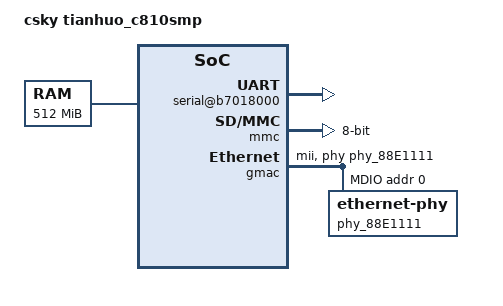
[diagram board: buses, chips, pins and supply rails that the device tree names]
/dts-v1/;
/ {
    model = "csky tianhuo_c810smp";
    compatible = "csky,tianhuo_c810smp";
    #address-cells = <1>;
    #size-cells = <1>;

    memory {
        device_type = "memory";
        reg = <0x80000000 0x20000000>;
    };

    cpus {
        #address-cells = <1>;
        #size-cells = <0>;
        timebase-frequency = <50000000>;
        cpu@0 {
            device_type = "cpu";
            reg = <0>;
            status = "okay";
            compatible = "csky";
            csky,isa = "Unknown";
        };
    };

    soc {
        #address-cells = <1>;
        #size-cells = <1>;
        compatible = "simple-bus";
        ranges;

        intc: interrupt-controller {
            compatible = "snps,dw-apb-ictl-dh";
            reg = <0xbfc10000 0x10000>;
            interrupt-controller;
            #interrupt-cells = <1>;
        };

        dummy_apb: apb-clock {
            compatible = "fixed-clock";
            clock-frequency = <50000000>;
            clock-output-names = "dummy_apb";
            #clock-cells = <0>;
        };

        serial@b7018000 {
            compatible = "snps,dw-apb-uart";
            reg = <0xb7018000 0x400>;
            interrupt-parent = <&intc>;
            interrupts = <25>;
            clocks = <&dummy_apb>;
            clock-frequency = <50000000>;
            clock-names = "baudclk";
            reg-shift = <2>;
            reg-io-width = <4>;
        };

        mmc: mmc0@b7080000 {
            compatible = "snps,dw-mshc";
            reg = <0xb7080000 0x400>;
            bus-width = <8>;
            clocks = <&dummy_apb>, <&dummy_apb>;
            clock-names = "biu", "ciu";
            max-frequency = <25000000>;
        };

        gmac: ethernet@b7070000 {
            compatible = "snps,arc-dwmac-3.70a";
            reg = <0xb7070000 0x2000>;
            interrupt-parent = <&intc>;
            interrupts = <18>;
            interrupt-names = "macirq";
            clocks = <&dummy_apb>;
            clock-names = "stmmaceth";
            snps,pbl = <32>;
            snps,fixed-burst;

            phy-mode = "mii";
            phy-handle = <&phy_88E1111>;
            max-speed = <100>;
            mdio0 {
                #address-cells = <1>;
                #size-cells = <0>;
                compatible = "snps,dwmac-mdio";

                phy_88E1111: ethernet-phy@0 {
                    reg = <0>;
                };
            };
        };
    };

    chosen {
        bootargs = "console=ttyS0,115200";
        stdout-path = "/soc/serial@b7018000:115200";
    };
};
